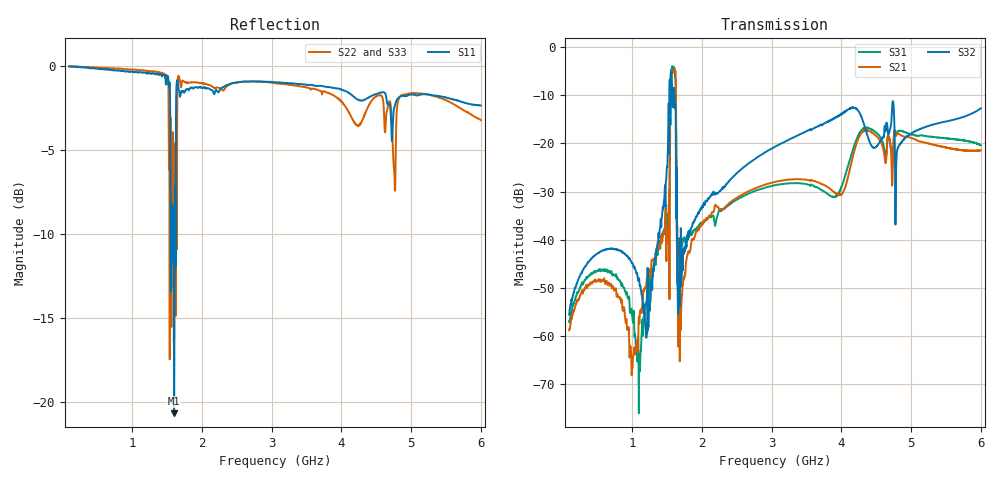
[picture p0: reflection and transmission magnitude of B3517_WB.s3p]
! Matrix data file written by TouchstoneData, EPCOS AG
! FILENAME: "LY41A_1_WB.s3p_newformat"
! COMMENT: "(LY41A_1_WB.s3p) EPCOS AG 06.10.10 15:55:02"
! INFO: nport=3, nfreq=1601
! DATE: "Tue Feb  1 13:03:19 2011"
! USER: "Sergey Rostovtsev"
! port | pin | signal
!  1  |  2  |  in
!  2  |  4  |  out
!  3  |  6  |  out
# MHZ S MA R 50
! freq  magS11 angS11  magS12 angS12  magS13 angS13  ...
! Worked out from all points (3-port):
!   1601 points, 100 MHz to 6 GHz, reference 50 ohm
!   strongest paths, dB at 100 MHz, 1.575 GHz, 3.05 GHz, 4.525 GHz, 6 GHz:
!     S32: -55.5, -8.4, -20.7, -20.3, -12.7
!     S21: -58.8, -5.2, -28.0, -18.8, -21.4
!     S31: -56.9, -4.1, -28.7, -18.1, -20.4
!   lowest |S11| = -20.7 dB at 1.605 GHz (marker M1), VSWR 1.20, Z = 42.9 + j4.81 ohm
!   |S11| at or under -10 dB: 1.555 GHz to 1.563 GHz (8.317 MHz wide, 0.534 % of centre); 1.573 GHz to 1.584 GHz (10.51 MHz wide, 0.666 % of centre); 1.597 GHz to 1.613 GHz (16.02 MHz wide, 0.998 % of centre)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
100  0.9955 -12.9  0.001149 77.3  0.001376 78.1
     0.001152 79.0  0.9958 -5.9  0.001654 81.9
     0.00143 77.9  0.001673 82.4  0.998 -5.7
682.625  0.9726 -78.5  0.003341 31.8  0.004592 31.4
         0.003344 31.6  0.9836 -39.1  0.008104 52.2
         0.004584 31.6  0.008123 52.3  0.9828 -38.9
1103  0.9579 -114.2  0.001466 165.8  0.0004934 127.0
      0.001456 165.4  0.9708 -63.8  0.003963 37.2
      0.0004911 128.7  0.003985 37.1  0.9704 -63.9
1224.688  0.9508 -124.0  0.00404 165.1  0.002741 159.0
          0.004024 164.7  0.9589 -71.2  0.005122 92.6
          0.002728 158.8  0.005122 92.8  0.9573 -71.7
1508.625  0.9284 -172.0  0.01227 127.9  0.01559 117.1
          0.01228 127.9  0.8878 -117.6  0.05656 139.2
          0.01562 117.2  0.05667 139.4  0.8879 -118.9
1604.5  0.09242 143.0  0.5768 100.7  0.6198 -72.5
        0.5763 100.6  0.3805 -16.1  0.3631 16.1
        0.6204 -72.5  0.3636 16.1  0.2873 -16.3
1689.312  0.8084 -116.2  0.001264 68.6  0.008426 165.9
          0.001256 68.6  0.8967 -62.5  0.01029 -167.9
          0.00843 165.9  0.01032 -167.9  0.8945 -63.8
2006.438  0.859 -146.1  0.01438 141.9  0.01484 133.9
          0.01435 141.9  0.8855 -95.3  0.02261 158.2
          0.01484 133.7  0.02263 158.2  0.8876 -97.5
3050  0.8934 175.1  0.03991 103.1  0.03695 102.7
      0.03985 102.6  0.8878 -140.7  0.09222 122.6
      0.03687 102.6  0.09233 122.8  0.9008 -140.1
6000  0.7614 94.3  0.08483 44.0  0.09541 25.5
      0.08483 43.9  0.689 138.1  0.231 52.7
      0.09541 25.6  0.2309 52.7  0.6828 135.2
